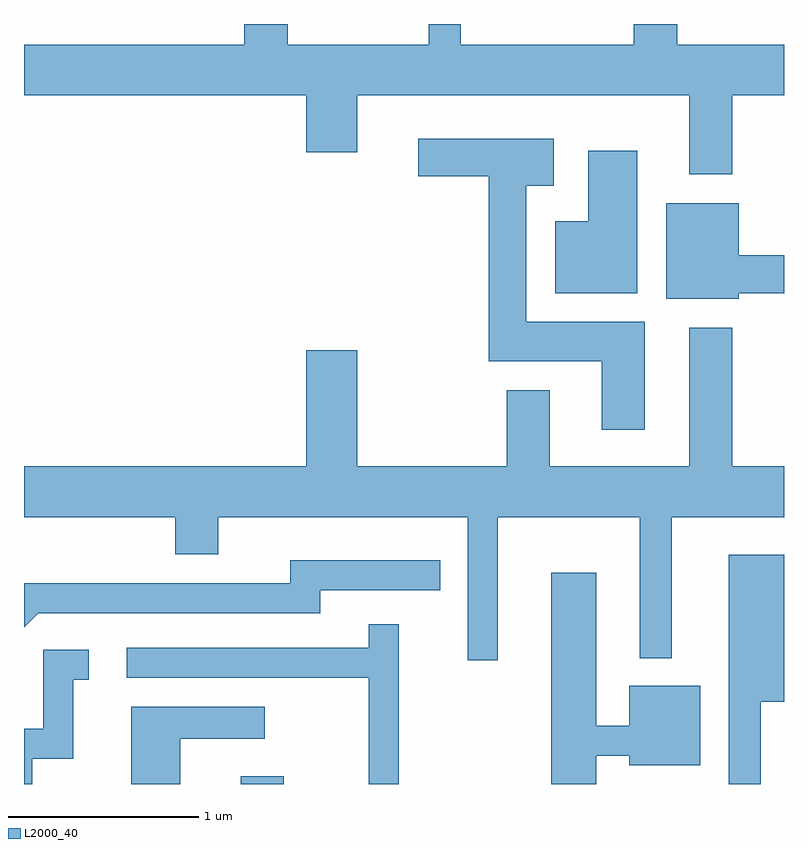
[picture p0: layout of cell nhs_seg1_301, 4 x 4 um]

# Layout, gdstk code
import gdstk
lib = gdstk.Library(unit=1e-6, precision=1e-09)
def R(c, l, rs):  # rectangles x0, y0, x1, y1
    for r in rs: c.add(gdstk.rectangle(r[:2], r[2:], *l))
def P(c, l, *ps):  # polygons
    for p in ps: c.add(gdstk.Polygon(p, *l))
L2000_40 = (2000, 40)

nhs_seg1_301 = lib.new_cell('nhs_seg1_301')
R(nhs_seg1_301, L2000_40, [(194.751,913.712,194.979,913.754)])
P(nhs_seg1_301, L2000_40, [(197.339,917.336),(197.611,917.336),(197.611,917.604),(197.049,917.604),(197.049,917.712),(196.821,917.712),(196.821,917.604),(195.909,917.604),(195.909,917.712),(195.741,917.712),(195.741,917.604),(194.999,917.604),(194.999,917.712),(194.771,917.712),(194.771,917.604),(193.611,917.604),(193.611,917.336),(195.096,917.336),(195.096,917.036),(195.364,917.036),(195.364,917.336),(197.111,917.336),(197.111,916.921),(197.339,916.921)],
  [(196.879,916.144),(196.254,916.144),(196.254,916.861),(196.399,916.861),(196.399,917.109),(195.686,917.109),(195.686,916.911),(196.056,916.911),(196.056,915.936),(196.651,915.936),(196.651,915.576),(196.879,915.576)],
  [(196.839,917.044),(196.581,917.044),(196.581,916.674),(196.406,916.674),(196.406,916.296),(196.839,916.296)],
  [(197.374,916.296),(197.611,916.296),(197.611,916.494),(197.374,916.494),(197.374,916.769),(196.991,916.769),(196.991,916.266),(197.374,916.266)],
  [(196.104,915.116),(196.851,915.116),(196.851,914.373),(197.019,914.373),(197.019,915.116),(197.611,915.116),(197.611,915.384),(197.339,915.384),(197.339,916.114),(197.111,916.114),(197.111,915.384),(196.379,915.384),(196.379,915.784),(196.151,915.784),(196.151,915.384),(195.364,915.384),(195.364,915.994),(195.096,915.994),(195.096,915.384),(193.611,915.384),(193.611,915.116),(194.406,915.116),(194.406,914.921),(194.634,914.921),(194.634,915.116),(195.946,915.116),(195.946,914.363),(196.104,914.363)],
  [(197.489,914.146),(197.611,914.146),(197.611,914.919),(197.321,914.919),(197.321,913.712),(197.489,913.712)],
  [(193.687,914.611),(195.169,914.611),(195.169,914.731),(195.803,914.731),(195.803,914.889),(195.011,914.889),(195.011,914.769),(193.611,914.769),(193.611,914.536)],
  [(196.624,913.861),(196.796,913.861),(196.796,913.811),(197.169,913.811),(197.169,914.229),(196.796,914.229),(196.796,914.019),(196.624,914.019),(196.624,914.824),(196.386,914.824),(196.386,913.712),(196.624,913.712)],
  [(195.584,914.553),(195.426,914.553),(195.426,914.429),(194.153,914.429),(194.153,914.271),(195.426,914.271),(195.426,913.712),(195.584,913.712)],
  [(193.654,913.846),(193.869,913.846),(193.869,914.261),(193.953,914.261),(193.953,914.419),(193.711,914.419),(193.711,914.004),(193.611,914.004),(193.611,913.712),(193.654,913.712)],
  [(194.434,913.951),(194.878,913.951),(194.878,914.119),(194.176,914.119),(194.176,913.712),(194.434,913.712)])

lib.write_gds('nhs_seg1_301.gds')
